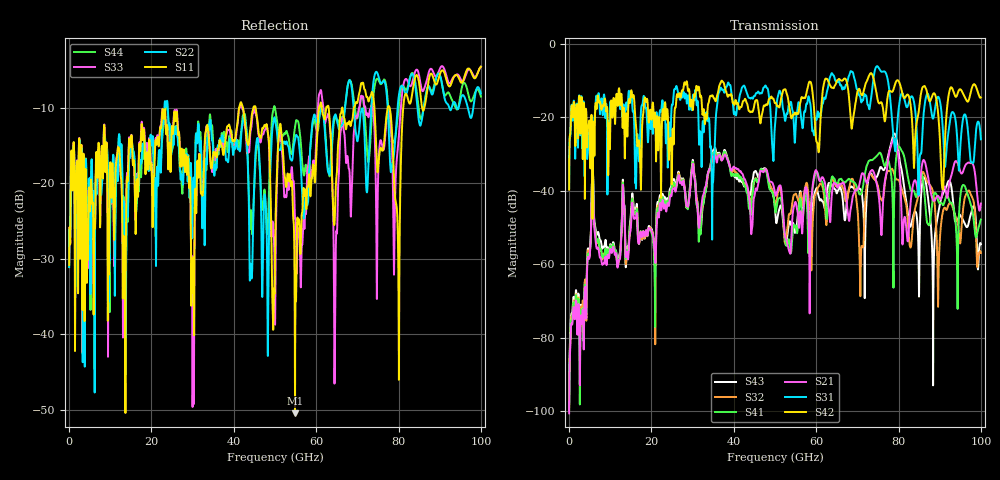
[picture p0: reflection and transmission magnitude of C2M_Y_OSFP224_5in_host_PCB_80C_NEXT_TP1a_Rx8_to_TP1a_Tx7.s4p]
# GHz S RI R 45
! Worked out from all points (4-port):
!   4000 points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, 25 MHz to 100 GHz, reference 45 ohm
!   strongest paths, dB at 25 MHz, 25.02 GHz, 50.02 GHz, 75.03 GHz, 100 GHz:
!     S42: -39.6, -28.1, -16.1, -15.6, -14.6
!     S31: -39.3, -16.4, -22.0, -6.2, -26.0
!     S21: -100.6, -40.2, -40.7, -40.0, -43.5
!     S41: -99.6, -38.5, -45.0, -30.1, -47.8
!     S32: -98.7, -39.0, -43.6, -38.8, -56.9
!     S43: -97.9, -37.4, -45.4, -35.5, -54.5
!   lowest |S11| = -50.5 dB at 54.88 GHz (marker M1), VSWR 1.01, Z = 45.3 + j0.0375 ohm
!   |S11| at or under -10 dB: start of sweep to 41.29 GHz; 45.32 GHz to 60.68 GHz (15.36 GHz wide, 29 % of centre); 77.86 GHz to 81.14 GHz (3.279 GHz wide, 4.12 % of centre) (the widest 3 of 9)
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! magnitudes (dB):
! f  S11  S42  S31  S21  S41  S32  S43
! 25 MHz  -30.8  -39.6  -39.3  -100.6  -99.6  -98.7  -97.9
! 5.85 GHz  -24.5  -23.7  -30.4  -36.8  -36.3  -36.6  -36.2
! 54.88 GHz  -50.5  -18.7  -26.3  -43.2  -49.8  -40.9  -51.4
! 79 GHz  -20.6  -11.6  -27.5  -25.5  -39.8  -35.7  -24.4
! 82.1 GHz  -8.4  -13.8  -17.2  -52.9  -35.1  -45.9  -44.5
! 90.67 GHz  -5.0  -39.5  -21.7  -40.4  -43.7  -46.2  -41.1
! 100 GHz  -4.5  -14.6  -26.0  -43.5  -47.8  -56.9  -54.5
